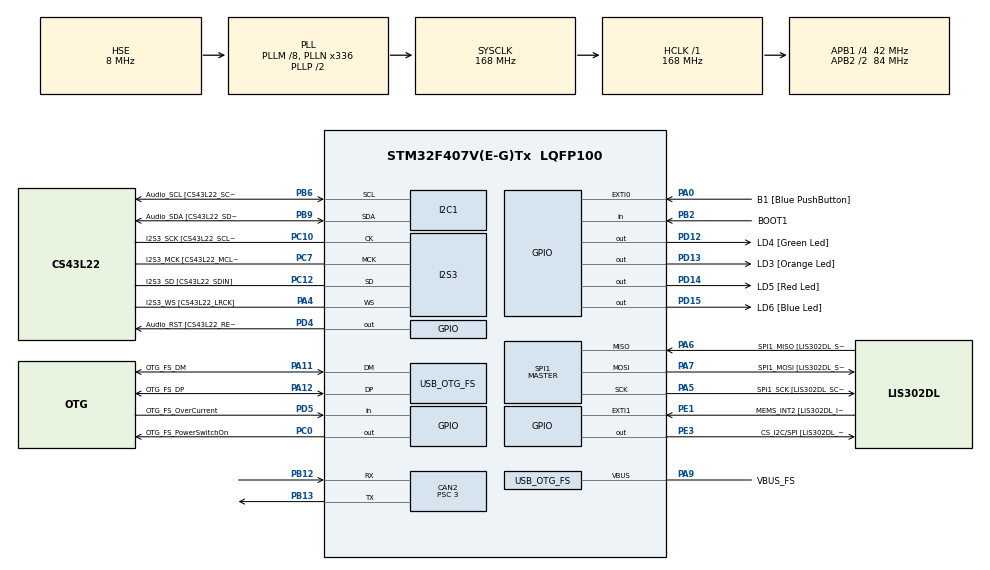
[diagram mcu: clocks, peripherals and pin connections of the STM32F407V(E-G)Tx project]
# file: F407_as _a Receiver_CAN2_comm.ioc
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CAN2.BS1=CAN_BS1_12TQ
CAN2.CalculateBaudRate=1000000
CAN2.CalculateTimeBit=1000
CAN2.CalculateTimeQuantum=71.42857142857143
CAN2.Prescaler=3
I2S3.AudioFreq-Half_Duplex_Master=I2S_AUDIOFREQ_96K
I2S3.ErrorAudioFreq=-2.34 %
I2S3.ErrorAudioFreq-Half_Duplex_Master=0.8 %
I2S3.FullDuplexMode=I2S_FULLDUPLEXMODE_DISABLE
I2S3.Instance=SPI$Index
I2S3.RealAudioFreq=93.75 KHz
I2S3.RealAudioFreq-Half_Duplex_Master=96.774 KHz
I2S3.VirtualMode=I2S_MODE_MASTER
Mcu.Family=STM32F4
Mcu.Name=STM32F407V(E-G)Tx
Mcu.Package=LQFP100
NVIC.CAN2_RX0_IRQn=true\:0\:0\:false\:false\:true\:true\:true\:true
NVIC.OTG_FS_IRQn=true\:0\:0\:false\:false\:true\:true\:true\:true
NVIC.PriorityGroup=NVIC_PRIORITYGROUP_0
PA0-WKUP.GPIO_Label=B1 [Blue PushButton]
PA0-WKUP.GPIO_ModeDefaultEXTI=GPIO_MODE_EVT_RISING
PA0-WKUP.GPIO_PuPd=GPIO_NOPULL
PA0-WKUP.Signal=GPXTI0
PA10.GPIO_Label=OTG_FS_ID
PA10.GPIO_Mode=GPIO_MODE_AF_PP
PA10.GPIO_PuPd=GPIO_NOPULL
PA10.GPIO_Speed=GPIO_SPEED_FREQ_LOW
PA10.Signal=USB_OTG_FS_ID
PA11.GPIO_Label=OTG_FS_DM
PA11.GPIO_Mode=GPIO_MODE_AF_PP
PA11.GPIO_PuPd=GPIO_NOPULL
PA11.GPIO_Speed=GPIO_SPEED_FREQ_LOW
PA11.Mode=Host_Only
PA11.Signal=USB_OTG_FS_DM
PA12.GPIO_Label=OTG_FS_DP
PA12.GPIO_Mode=GPIO_MODE_AF_PP
PA12.GPIO_PuPd=GPIO_NOPULL
PA12.GPIO_Speed=GPIO_SPEED_FREQ_LOW
PA12.Mode=Host_Only
PA12.Signal=USB_OTG_FS_DP
PA13.GPIO_Label=SWDIO
PA13.Mode=Serial_Wire
PA13.Signal=SYS_JTMS-SWDIO
PA14.GPIO_Label=SWCLK
PA14.Mode=Serial_Wire
PA14.Signal=SYS_JTCK-SWCLK
PA4.GPIO_Label=I2S3_WS [CS43L22_LRCK]
PA4.GPIO_Mode=GPIO_MODE_AF_PP
PA4.GPIO_PuPd=GPIO_NOPULL
PA4.GPIO_Speed=GPIO_SPEED_FREQ_LOW
PA4.Mode=Half_Duplex_Master
PA4.Signal=I2S3_WS
PA5.GPIO_Label=SPI1_SCK [LIS302DL_SCL/SPC]
PA5.GPIO_Mode=GPIO_MODE_AF_PP
PA5.GPIO_PuPd=GPIO_NOPULL
PA5.GPIO_Speed=GPIO_SPEED_FREQ_LOW
PA5.Mode=Full_Duplex_Master
PA5.Signal=SPI1_SCK
PA6.GPIO_Label=SPI1_MISO [LIS302DL_SDO]
PA6.GPIO_Mode=GPIO_MODE_AF_PP
PA6.GPIO_PuPd=GPIO_NOPULL
PA6.GPIO_Speed=GPIO_SPEED_FREQ_LOW
PA6.Mode=Full_Duplex_Master
PA6.Signal=SPI1_MISO
PA7.GPIO_Label=SPI1_MOSI [LIS302DL_SDA/SDI/SDO]
PA7.GPIO_Mode=GPIO_MODE_AF_PP
PA7.GPIO_PuPd=GPIO_NOPULL
PA7.GPIO_Speed=GPIO_SPEED_FREQ_LOW
PA7.Mode=Full_Duplex_Master
PA7.Signal=SPI1_MOSI
PA9.GPIO_Label=VBUS_FS
PA9.GPIO_Mode=GPIO_MODE_INPUT
PA9.GPIO_PuPd=GPIO_NOPULL
PA9.Mode=Activate_VBUS
PA9.Signal=USB_OTG_FS_VBUS
PB10.GPIO_Label=CLK_IN [MP45DT02_CLK]
PB10.GPIO_Mode=GPIO_MODE_AF_PP
PB10.GPIO_PuPd=GPIO_NOPULL
PB10.GPIO_Speed=GPIO_SPEED_FREQ_LOW
PB10.Signal=I2S2_CK
PB12.Mode=CAN_Activate
PB12.Signal=CAN2_RX
PB13.Mode=CAN_Activate
PB13.Signal=CAN2_TX
PB2.GPIO_Label=BOOT1
PB2.GPIO_Mode=GPIO_MODE_INPUT
PB2.GPIO_PuPd=GPIO_NOPULL
PB2.Signal=GPIO_Input
PB3.GPIO_Label=SWO
PB3.Signal=SYS_JTDO-SWO
PB6.GPIO_Label=Audio_SCL [CS43L22_SCL]
PB6.GPIO_Mode=GPIO_MODE_AF_OD
PB6.GPIO_Pu=GPIO_PULLUP
PB6.GPIO_PuPd=GPIO_NOPULL
PB6.GPIO_Speed=GPIO_SPEED_FREQ_LOW
PB6.Mode=I2C
PB6.Signal=I2C1_SCL
PB9.GPIO_Label=Audio_SDA [CS43L22_SDA]
PB9.GPIO_Mode=GPIO_MODE_AF_OD
PB9.GPIO_Pu=GPIO_PULLUP
PB9.GPIO_PuPd=GPIO_NOPULL
PB9.GPIO_Speed=GPIO_SPEED_FREQ_LOW
PB9.Mode=I2C
PB9.Signal=I2C1_SDA
PC0.GPIO_Label=OTG_FS_PowerSwitchOn
PC0.GPIO_PuPd=GPIO_NOPULL
PC0.GPIO_Speed=GPIO_SPEED_FREQ_LOW
PC0.PinState=GPIO_PIN_SET
PC0.Signal=GPIO_Output
PC10.GPIO_Label=I2S3_SCK [CS43L22_SCLK]
PC10.GPIO_Mode=GPIO_MODE_AF_PP
PC10.GPIO_PuPd=GPIO_NOPULL
PC10.GPIO_Speed=GPIO_SPEED_FREQ_LOW
PC10.Mode=Half_Duplex_Master
PC10.Signal=I2S3_CK
PC12.GPIO_Label=I2S3_SD [CS43L22_SDIN]
PC12.GPIO_Mode=GPIO_MODE_AF_PP
PC12.GPIO_PuPd=GPIO_NOPULL
PC12.GPIO_Speed=GPIO_SPEED_FREQ_LOW
PC12.Mode=Half_Duplex_Master
PC12.Signal=I2S3_SD
PC14-OSC32_IN.GPIO_Label=PC14-OSC32_IN
PC14-OSC32_IN.Mode=LSE-External-Oscillator
PC14-OSC32_IN.Signal=RCC_OSC32_IN
PC15-OSC32_OUT.GPIO_Label=PC15-OSC32_OUT
PC15-OSC32_OUT.Mode=LSE-External-Oscillator
PC15-OSC32_OUT.Signal=RCC_OSC32_OUT
PC3.GPIO_Label=PDM_OUT [MP45DT02_DOUT]
PC3.GPIO_Mode=GPIO_MODE_AF_PP
PC3.GPIO_PuPd=GPIO_NOPULL
PC3.GPIO_Speed=GPIO_SPEED_FREQ_LOW
PC3.Signal=I2S2_SD
PC7.GPIO_Label=I2S3_MCK [CS43L22_MCLK]
PC7.GPIO_Mode=GPIO_MODE_AF_PP
PC7.GPIO_PuPd=GPIO_NOPULL
PC7.GPIO_Speed=GPIO_SPEED_FREQ_LOW
PC7.Mode=Master_Clock_Activated
PC7.Signal=I2S3_MCK
PD12.GPIO_Label=LD4 [Green Led]
PD12.GPIO_PuPd=GPIO_NOPULL
PD12.GPIO_Speed=GPIO_SPEED_FREQ_LOW
PD12.Signal=GPIO_Output
PD13.GPIO_Label=LD3 [Orange Led]
PD13.GPIO_PuPd=GPIO_NOPULL
PD13.GPIO_Speed=GPIO_SPEED_FREQ_LOW
PD13.Signal=GPIO_Output
PD14.GPIO_Label=LD5 [Red Led]
PD14.GPIO_PuPd=GPIO_NOPULL
PD14.GPIO_Speed=GPIO_SPEED_FREQ_LOW
PD14.Signal=GPIO_Output
PD15.GPIO_Label=LD6 [Blue Led]
PD15.GPIO_PuPd=GPIO_NOPULL
PD15.GPIO_Speed=GPIO_SPEED_FREQ_LOW
PD15.Signal=GPIO_Output
PD4.GPIO_Label=Audio_RST [CS43L22_RESET]
PD4.GPIO_PuPd=GPIO_NOPULL
PD4.GPIO_Speed=GPIO_SPEED_FREQ_LOW
PD4.Signal=GPIO_Output
PD5.GPIO_Label=OTG_FS_OverCurrent
PD5.GPIO_Mode=GPIO_MODE_INPUT
PD5.GPIO_PuPd=GPIO_NOPULL
PD5.Signal=GPIO_Input
PE1.GPIO_Label=MEMS_INT2 [LIS302DL_INT2]
PE1.GPIO_ModeDefaultEXTI=GPIO_MODE_EVT_RISING
PE1.GPIO_PuPd=GPIO_NOPULL
PE1.Signal=GPXTI1
PE3.GPIO_Label=CS_I2C/SPI [LIS302DL_CS_I2C/SPI]
PE3.GPIO_PuPd=GPIO_NOPULL
PE3.GPIO_Speed=GPIO_SPEED_FREQ_LOW
PE3.Signal=GPIO_Output
PH0-OSC_IN.GPIO_Label=PH0-OSC_IN
PH0-OSC_IN.Mode=HSE-External-Oscillator
PH0-OSC_IN.Signal=RCC_OSC_IN
PH1-OSC_OUT.GPIO_Label=PH1-OSC_OUT
PH1-OSC_OUT.Mode=HSE-External-Oscillator
PH1-OSC_OUT.Signal=RCC_OSC_OUT
ProjectManager.HeapSize=0x200
ProjectManager.StackSize=0x400
ProjectManager.TargetToolchain=STM32CubeIDE
RCC.48MHZClocksFreq_Value=48000000
RCC.AHBFreq_Value=168000000
RCC.APB1CLKDivider=RCC_HCLK_DIV4
RCC.APB1Freq_Value=42000000
RCC.APB1TimFreq_Value=84000000
RCC.APB2CLKDivider=RCC_HCLK_DIV2
RCC.APB2Freq_Value=84000000
RCC.APB2TimFreq_Value=168000000
RCC.CortexFreq_Value=168000000
RCC.HCLKFreq_Value=168000000
RCC.HSE_VALUE=8000000
RCC.HSI_VALUE=16000000
RCC.PLLM=8
RCC.PLLN=336
RCC.PLLQ=7
RCC.SYSCLKFreq_VALUE=168000000
RCC.SYSCLKSource=RCC_SYSCLKSOURCE_PLLCLK
RCC.VCOOutputFreq_Value=336000000
SPI1.BaudRatePrescaler-Full_Duplex_Master=SPI_BAUDRATEPRESCALER_2
SPI1.CalculateBaudRate-Full_Duplex_Master=42.0 MBits/s
SPI1.Direction=SPI_DIRECTION_2LINES
SPI1.Mode=SPI_MODE_MASTER
SPI1.Mode-Full_Duplex_Master=SPI_MODE_MASTER
SPI1.VirtualType=VM_MASTER
USB_HOST.BSP.number=1
USB_HOST.USBH_HandleTypeDef-CDC_FS=hUsbHostFS
USB_HOST.VirtualModeFS=Cdc
USB_HOST0.BSP.STBoard=false
USB_HOST0.BSP.api=Unknown
USB_HOST0.BSP.instance=PC0
USB_HOST0.BSP.ip=GPIO
USB_HOST0.BSP.mode=Output
USB_HOST0.BSP.name=Drive_VBUS_FS
USB_HOST0.BSP.solution=PC0
USB_OTG_FS.VirtualMode=Host_Only
USB_OTG_FS.phy_itface=HCD_PHY_EMBEDDED
VP_USB_HOST_VS_USB_HOST_CDC_FS.Mode=CDC_FS
board=STM32F407G-DISC1

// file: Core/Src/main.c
/* USER CODE BEGIN Header */
/**
  ******************************************************************************
  * @file           : main.c
  * @brief          : Main program body
  ******************************************************************************
  * @attention
  *
  * Copyright (c) 2026 STMicroelectronics.
  * All rights reserved.
  *
  * This software is licensed under terms that can be found in the LICENSE file
  * in the root directory of this software component.
  * If no LICENSE file comes with this software, it is provided AS-IS.
  *
  ******************************************************************************
  */
/* USER CODE END Header */
#include "main.h"
#include "usb_host.h"

CAN_HandleTypeDef hcan2;

I2C_HandleTypeDef hi2c1;

I2S_HandleTypeDef hi2s3;

SPI_HandleTypeDef hspi1;

void SystemClock_Config(void);
static void MX_GPIO_Init(void);
static void MX_I2C1_Init(void);
static void MX_I2S3_Init(void);
static void MX_SPI1_Init(void);
static void MX_CAN2_Init(void);
void MX_USB_HOST_Process(void);

int main(void)
{

  /* MCU Configuration--------------------------------------------------------*/

  /* Reset of all peripherals, Initializes the Flash interface and the Systick. */
  HAL_Init();

  /* Configure the system clock */
  SystemClock_Config();

  /* Initialize all configured peripherals */
  MX_GPIO_Init();
  MX_I2C1_Init();
  MX_I2S3_Init();
  MX_SPI1_Init();
  MX_USB_HOST_Init();
  MX_CAN2_Init();
  /* USER CODE BEGIN 2 */

  CAN_FilterTypeDef sFilterConfig;

  /* Configure Filter */
  sFilterConfig.FilterBank = 14;   // CAN2 uses 14–27
  sFilterConfig.FilterMode = CAN_FILTERMODE_IDMASK;
  sFilterConfig.FilterScale = CAN_FILTERSCALE_32BIT;
  sFilterConfig.FilterIdHigh = 0x0000;
  sFilterConfig.FilterIdLow = 0x0000;
  sFilterConfig.FilterMaskIdHigh = 0x0000;
  sFilterConfig.FilterMaskIdLow = 0x0000;
  sFilterConfig.FilterFIFOAssignment = CAN_FILTER_FIFO0;
  sFilterConfig.FilterActivation = ENABLE;
  sFilterConfig.SlaveStartFilterBank = 14;

  HAL_CAN_ConfigFilter(&hcan2, &sFilterConfig);

  /* Start CAN */
  HAL_CAN_Start(&hcan2);

  /* Enable RX interrupt */
  HAL_CAN_ActivateNotification(&hcan2, CAN_IT_RX_FIFO0_MSG_PENDING);
  /* USER CODE END 2 */

  /* Infinite loop */
  while (1)
  {
    MX_USB_HOST_Process();

  }
}

void SystemClock_Config(void)
{
  RCC_OscInitTypeDef RCC_OscInitStruct = {0};
  RCC_ClkInitTypeDef RCC_ClkInitStruct = {0};

  /** Configure the main internal regulator output voltage
  */
  __HAL_RCC_PWR_CLK_ENABLE();
  __HAL_PWR_VOLTAGESCALING_CONFIG(PWR_REGULATOR_VOLTAGE_SCALE1);

  /** Initializes the RCC Oscillators according to the specified parameters
  * in the RCC_OscInitTypeDef structure.
  */
  RCC_OscInitStruct.OscillatorType = RCC_OSCILLATORTYPE_HSE;
  RCC_OscInitStruct.HSEState = RCC_HSE_ON;
  RCC_OscInitStruct.PLL.PLLState = RCC_PLL_ON;
  RCC_OscInitStruct.PLL.PLLSource = RCC_PLLSOURCE_HSE;
  RCC_OscInitStruct.PLL.PLLM = 8;
  RCC_OscInitStruct.PLL.PLLN = 336;
  RCC_OscInitStruct.PLL.PLLP = RCC_PLLP_DIV2;
  RCC_OscInitStruct.PLL.PLLQ = 7;
  if (HAL_RCC_OscConfig(&RCC_OscInitStruct) != HAL_OK)
  {
    Error_Handler();
  }

  /** Initializes the CPU, AHB and APB buses clocks
  */
  RCC_ClkInitStruct.ClockType = RCC_CLOCKTYPE_HCLK|RCC_CLOCKTYPE_SYSCLK
                              |RCC_CLOCKTYPE_PCLK1|RCC_CLOCKTYPE_PCLK2;
  RCC_ClkInitStruct.SYSCLKSource = RCC_SYSCLKSOURCE_PLLCLK;
  RCC_ClkInitStruct.AHBCLKDivider = RCC_SYSCLK_DIV1;
  RCC_ClkInitStruct.APB1CLKDivider = RCC_HCLK_DIV4;
  RCC_ClkInitStruct.APB2CLKDivider = RCC_HCLK_DIV2;

  if (HAL_RCC_ClockConfig(&RCC_ClkInitStruct, FLASH_LATENCY_5) != HAL_OK)
  {
    Error_Handler();
  }
}

static void MX_CAN2_Init(void)
{

  hcan2.Instance = CAN2;
  hcan2.Init.Prescaler = 3;
  hcan2.Init.Mode = CAN_MODE_NORMAL;
  hcan2.Init.SyncJumpWidth = CAN_SJW_1TQ;
  hcan2.Init.TimeSeg1 = CAN_BS1_12TQ;
  hcan2.Init.TimeSeg2 = CAN_BS2_1TQ;
  hcan2.Init.TimeTriggeredMode = DISABLE;
  hcan2.Init.AutoBusOff = DISABLE;
  hcan2.Init.AutoWakeUp = DISABLE;
  hcan2.Init.AutoRetransmission = DISABLE;
  hcan2.Init.ReceiveFifoLocked = DISABLE;
  hcan2.Init.TransmitFifoPriority = DISABLE;
  if (HAL_CAN_Init(&hcan2) != HAL_OK)
  {
    Error_Handler();
  }

}

static void MX_I2C1_Init(void)
{

  hi2c1.Instance = I2C1;
  hi2c1.Init.ClockSpeed = 100000;
  hi2c1.Init.DutyCycle = I2C_DUTYCYCLE_2;
  hi2c1.Init.OwnAddress1 = 0;
  hi2c1.Init.AddressingMode = I2C_ADDRESSINGMODE_7BIT;
  hi2c1.Init.DualAddressMode = I2C_DUALADDRESS_DISABLE;
  hi2c1.Init.OwnAddress2 = 0;
  hi2c1.Init.GeneralCallMode = I2C_GENERALCALL_DISABLE;
  hi2c1.Init.NoStretchMode = I2C_NOSTRETCH_DISABLE;
  if (HAL_I2C_Init(&hi2c1) != HAL_OK)
  {
    Error_Handler();
  }

}

static void MX_I2S3_Init(void)
{

  hi2s3.Instance = SPI3;
  hi2s3.Init.Mode = I2S_MODE_MASTER_TX;
  hi2s3.Init.Standard = I2S_STANDARD_PHILIPS;
  hi2s3.Init.DataFormat = I2S_DATAFORMAT_16B;
  hi2s3.Init.MCLKOutput = I2S_MCLKOUTPUT_ENABLE;
  hi2s3.Init.AudioFreq = I2S_AUDIOFREQ_96K;
  hi2s3.Init.CPOL = I2S_CPOL_LOW;
  hi2s3.Init.ClockSource = I2S_CLOCK_PLL;
  hi2s3.Init.FullDuplexMode = I2S_FULLDUPLEXMODE_DISABLE;
  if (HAL_I2S_Init(&hi2s3) != HAL_OK)
  {
    Error_Handler();
  }

}

static void MX_SPI1_Init(void)
{

  /* SPI1 parameter configuration*/
  hspi1.Instance = SPI1;
  hspi1.Init.Mode = SPI_MODE_MASTER;
  hspi1.Init.Direction = SPI_DIRECTION_2LINES;
  hspi1.Init.DataSize = SPI_DATASIZE_8BIT;
  hspi1.Init.CLKPolarity = SPI_POLARITY_LOW;
  hspi1.Init.CLKPhase = SPI_PHASE_1EDGE;
  hspi1.Init.NSS = SPI_NSS_SOFT;
  hspi1.Init.BaudRatePrescaler = SPI_BAUDRATEPRESCALER_2;
  hspi1.Init.FirstBit = SPI_FIRSTBIT_MSB;
  hspi1.Init.TIMode = SPI_TIMODE_DISABLE;
  hspi1.Init.CRCCalculation = SPI_CRCCALCULATION_DISABLE;
  hspi1.Init.CRCPolynomial = 10;
  if (HAL_SPI_Init(&hspi1) != HAL_OK)
  {
    Error_Handler();
  }

}

static void MX_GPIO_Init(void)
{
  GPIO_InitTypeDef GPIO_InitStruct = {0};

  /* GPIO Ports Clock Enable */
  __HAL_RCC_GPIOE_CLK_ENABLE();
  __HAL_RCC_GPIOC_CLK_ENABLE();
  __HAL_RCC_GPIOH_CLK_ENABLE();
  __HAL_RCC_GPIOA_CLK_ENABLE();
  __HAL_RCC_GPIOB_CLK_ENABLE();
  __HAL_RCC_GPIOD_CLK_ENABLE();

  /*Configure GPIO pin Output Level */
  HAL_GPIO_WritePin(CS_I2C_SPI_GPIO_Port, CS_I2C_SPI_Pin, GPIO_PIN_RESET);

  /*Configure GPIO pin Output Level */
  HAL_GPIO_WritePin(OTG_FS_PowerSwitchOn_GPIO_Port, OTG_FS_PowerSwitchOn_Pin, GPIO_PIN_SET);

  /*Configure GPIO pin Output Level */
  HAL_GPIO_WritePin(GPIOD, LD4_Pin|LD3_Pin|LD5_Pin|LD6_Pin
                          |Audio_RST_Pin, GPIO_PIN_RESET);

  /*Configure GPIO pin : CS_I2C_SPI_Pin */
  GPIO_InitStruct.Pin = CS_I2C_SPI_Pin;
  GPIO_InitStruct.Mode = GPIO_MODE_OUTPUT_PP;
  GPIO_InitStruct.Pull = GPIO_NOPULL;
  GPIO_InitStruct.Speed = GPIO_SPEED_FREQ_LOW;
  HAL_GPIO_Init(CS_I2C_SPI_GPIO_Port, &GPIO_InitStruct);

  /*Configure GPIO pin : OTG_FS_PowerSwitchOn_Pin */
  GPIO_InitStruct.Pin = OTG_FS_PowerSwitchOn_Pin;
  GPIO_InitStruct.Mode = GPIO_MODE_OUTPUT_PP;
  GPIO_InitStruct.Pull = GPIO_NOPULL;
  GPIO_InitStruct.Speed = GPIO_SPEED_FREQ_LOW;
  HAL_GPIO_Init(OTG_FS_PowerSwitchOn_GPIO_Port, &GPIO_InitStruct);

  /*Configure GPIO pin : PDM_OUT_Pin */
  GPIO_InitStruct.Pin = PDM_OUT_Pin;
  GPIO_InitStruct.Mode = GPIO_MODE_AF_PP;
  GPIO_InitStruct.Pull = GPIO_NOPULL;
  GPIO_InitStruct.Speed = GPIO_SPEED_FREQ_LOW;
  GPIO_InitStruct.Alternate = GPIO_AF5_SPI2;
  HAL_GPIO_Init(PDM_OUT_GPIO_Port, &GPIO_InitStruct);

  /*Configure GPIO pin : B1_Pin */
  GPIO_InitStruct.Pin = B1_Pin;
  GPIO_InitStruct.Mode = GPIO_MODE_EVT_RISING;
  GPIO_InitStruct.Pull = GPIO_NOPULL;
  HAL_GPIO_Init(B1_GPIO_Port, &GPIO_InitStruct);

  /*Configure GPIO pin : BOOT1_Pin */
  GPIO_InitStruct.Pin = BOOT1_Pin;
  GPIO_InitStruct.Mode = GPIO_MODE_INPUT;
  GPIO_InitStruct.Pull = GPIO_NOPULL;
  HAL_GPIO_Init(BOOT1_GPIO_Port, &GPIO_InitStruct);

  /*Configure GPIO pin : CLK_IN_Pin */
  GPIO_InitStruct.Pin = CLK_IN_Pin;
  GPIO_InitStruct.Mode = GPIO_MODE_AF_PP;
  GPIO_InitStruct.Pull = GPIO_NOPULL;
  GPIO_InitStruct.Speed = GPIO_SPEED_FREQ_LOW;
  GPIO_InitStruct.Alternate = GPIO_AF5_SPI2;
  HAL_GPIO_Init(CLK_IN_GPIO_Port, &GPIO_InitStruct);

  /*Configure GPIO pins : LD4_Pin LD3_Pin LD5_Pin LD6_Pin
                           Audio_RST_Pin */
  GPIO_InitStruct.Pin = LD4_Pin|LD3_Pin|LD5_Pin|LD6_Pin
                          |Audio_RST_Pin;
  GPIO_InitStruct.Mode = GPIO_MODE_OUTPUT_PP;
  GPIO_InitStruct.Pull = GPIO_NOPULL;
  GPIO_InitStruct.Speed = GPIO_SPEED_FREQ_LOW;
  HAL_GPIO_Init(GPIOD, &GPIO_InitStruct);

  /*Configure GPIO pin : OTG_FS_OverCurrent_Pin */
  GPIO_InitStruct.Pin = OTG_FS_OverCurrent_Pin;
  GPIO_InitStruct.Mode = GPIO_MODE_INPUT;
  GPIO_InitStruct.Pull = GPIO_NOPULL;
  HAL_GPIO_Init(OTG_FS_OverCurrent_GPIO_Port, &GPIO_InitStruct);

  /*Configure GPIO pin : MEMS_INT2_Pin */
  GPIO_InitStruct.Pin = MEMS_INT2_Pin;
  GPIO_InitStruct.Mode = GPIO_MODE_EVT_RISING;
  GPIO_InitStruct.Pull = GPIO_NOPULL;
  HAL_GPIO_Init(MEMS_INT2_GPIO_Port, &GPIO_InitStruct);

}

/* USER CODE BEGIN 4 */
void HAL_CAN_RxFifo0MsgPendingCallback(CAN_HandleTypeDef *hcan)
{
    CAN_RxHeaderTypeDef RxHeader;
    uint8_t RxData[8];

    HAL_CAN_GetRxMessage(hcan, CAN_RX_FIFO0, &RxHeader, RxData);

    // Toggle Green LED (PD12 on F407 Discovery)
    HAL_GPIO_TogglePin(GPIOD, GPIO_PIN_12);
}

/* USER CODE END 4 */

void Error_Handler(void)
{
  __disable_irq();
  while (1)
  {
  }
}
